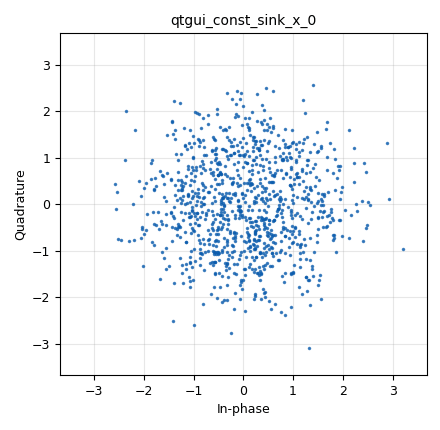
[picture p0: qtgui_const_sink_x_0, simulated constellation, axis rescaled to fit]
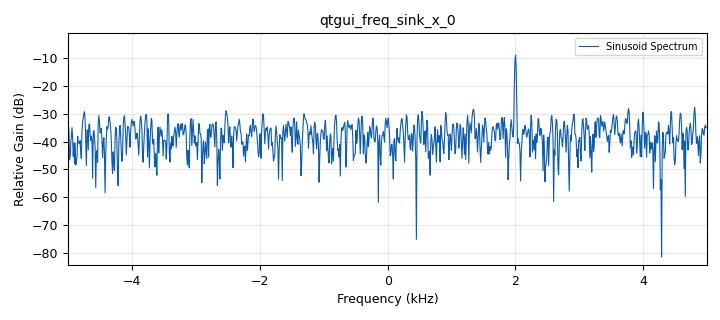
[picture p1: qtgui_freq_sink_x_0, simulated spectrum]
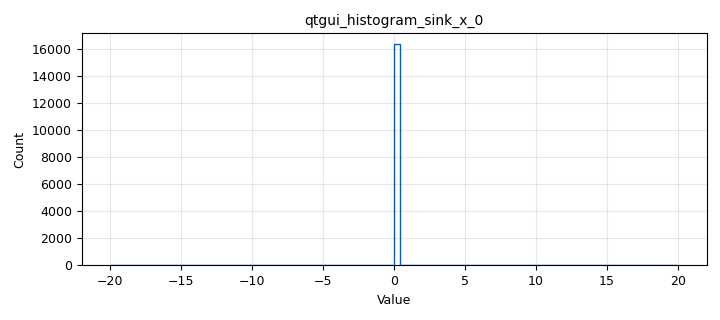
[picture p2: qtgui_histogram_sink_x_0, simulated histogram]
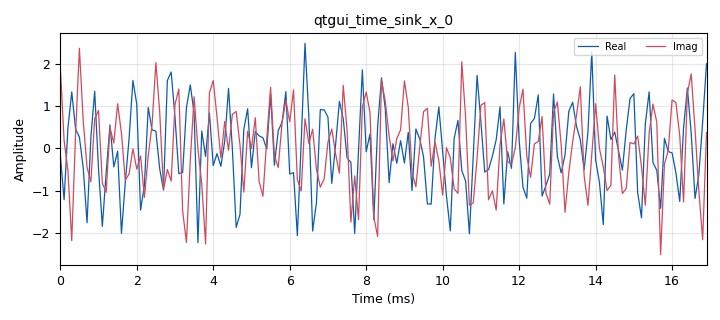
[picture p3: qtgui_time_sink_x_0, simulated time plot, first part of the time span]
options:
  parameters:
    generate_options: qt_gui
    id: ece531_lab1f
    output_language: python
    title: ece531_lab1f
  states: {}

blocks:
- name: freq
  id: variable
  parameters:
    value: '2000'
  states: {}
- name: magnitude
  id: variable_qtgui_range
  parameters:
    start: '0'
    step: '0.01'
    stop: '1'
    value: '0'
  states: {}
- name: phase
  id: variable_qtgui_range
  parameters:
    start: '0'
    step: '0.1'
    stop: '6.2'
    value: '0'
  states: {}
- name: samp_rate
  id: variable_qtgui_range
  parameters:
    start: '1000'
    step: '200'
    stop: '40000'
    value: '10000'
  states: {}
- name: snr_dB
  id: variable_qtgui_range
  parameters:
    start: '-40'
    step: '5'
    stop: '60'
    value: '0'
  states: {}
- name: analog_noise_source_x_0
  id: analog_noise_source_x
  parameters:
    amp: pow(10, -snr_dB/20)
    comment: Additive Noise Source
    noise_type: analog.GR_GAUSSIAN
    seed: '0'
    type: complex
  states: {}
- name: analog_noise_source_x_0_0
  id: analog_noise_source_x
  parameters:
    amp: pow(10, -snr_dB/20)
    comment: |-
      Noise Source for Histogram. Not All Noise
      Source Types Support Complex Data
    noise_type: analog.GR_IMPULSE
    seed: '0'
    type: float
  states: {}
- name: analog_sig_source_x_0
  id: analog_sig_source_x
  parameters:
    amp: '1'
    freq: freq
    offset: '0'
    phase: '0'
    samp_rate: samp_rate
    showports: 'True'
    type: complex
    waveform: analog.GR_SIN_WAVE
  states: {}
- name: blocks_add_xx_0
  id: blocks_add_xx
  parameters:
    type: complex
  states: {}
- name: blocks_throttle2_0
  id: blocks_throttle2
  parameters:
    samples_per_second: '32000'
    type: complex
  states: {}
- name: channels_iqbal_gen_0
  id: channels_iqbal_gen
  parameters:
    mag: magnitude
    mode: '0'
    phase: phase
  states: {}
- name: qtgui_const_sink_x_0
  id: qtgui_const_sink_x
  parameters:
    gui_hint: qtgui_tab_widget_0@2
    size: '1024'
    type: complex
  states: {}
- name: qtgui_freq_sink_x_0
  id: qtgui_freq_sink_x
  parameters:
    autoscale: 'True'
    bw: samp_rate
    fc: '0'
    fftsize: '1024'
    grid: 'True'
    gui_hint: qtgui_tab_widget_0@1
    label1: Sinusoid Spectrum
    type: complex
  states: {}
- name: qtgui_histogram_sink_x_0
  id: qtgui_histogram_sink_x
  parameters:
    bins: '100'
    gui_hint: qtgui_tab_widget_0@3
    size: '16384'
    type: float
    xmax: '20'
    xmin: '-20'
  states: {}
- name: qtgui_tab_widget_0
  id: qtgui_tab_widget
  parameters:
    label0: Time
    label1: Frequency
    label2: Constellation
    label3: Noise Histogram
    num_tabs: '4'
  states: {}
- name: qtgui_time_sink_x_0
  id: qtgui_time_sink_x
  parameters:
    autoscale: 'True'
    grid: 'True'
    gui_hint: qtgui_tab_widget_0@0
    label1: Real
    label2: Imag
    size: '1024'
    srate: samp_rate
    type: complex
  states: {}

connections:
- [analog_noise_source_x_0, '0', blocks_add_xx_0, '1']
- [analog_noise_source_x_0_0, '0', qtgui_histogram_sink_x_0, '0']
- [analog_sig_source_x_0, '0', blocks_add_xx_0, '0']
- [blocks_add_xx_0, '0', blocks_throttle2_0, '0']
- [blocks_throttle2_0, '0', channels_iqbal_gen_0, '0']
- [channels_iqbal_gen_0, '0', qtgui_const_sink_x_0, '0']
- [channels_iqbal_gen_0, '0', qtgui_freq_sink_x_0, '0']
- [channels_iqbal_gen_0, '0', qtgui_time_sink_x_0, '0']

metadata:
  file_format: 1
  grc_version: 3.10.9.2
